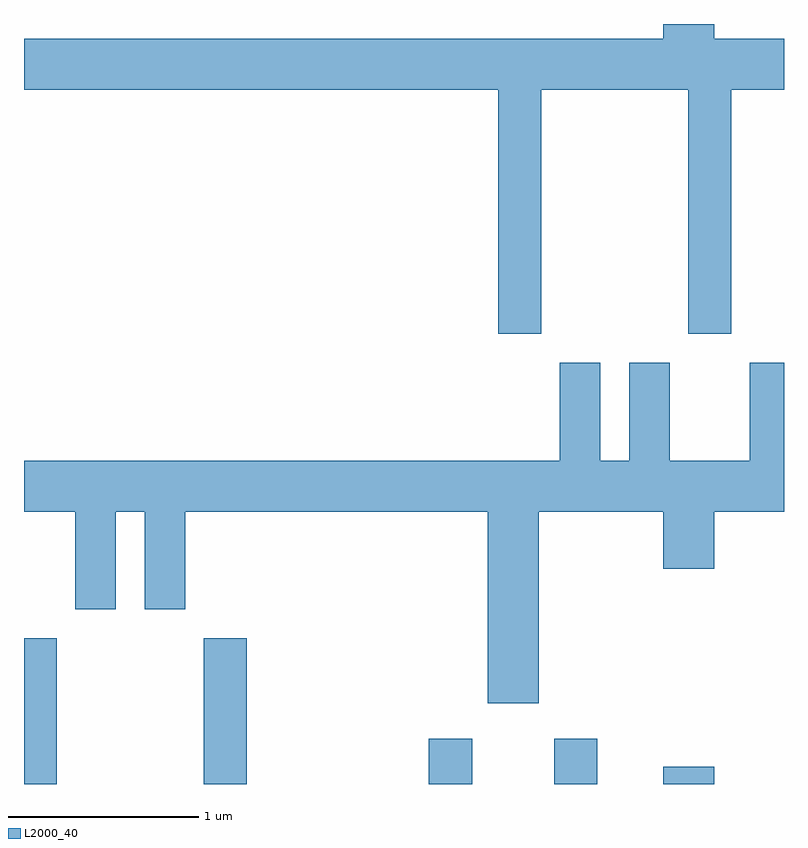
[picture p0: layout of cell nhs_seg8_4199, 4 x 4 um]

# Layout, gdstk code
import gdstk
lib = gdstk.Library(unit=1e-6, precision=1e-09)
def R(c, l, rs):  # rectangles x0, y0, x1, y1
    for r in rs: c.add(gdstk.rectangle(r[:2], r[2:], *l))
def P(c, l, *ps):  # polygons
    for p in ps: c.add(gdstk.Polygon(p, *l))
L2000_40 = (2000, 40)

nhs_seg8_4199 = lib.new_cell('nhs_seg8_4199')
R(nhs_seg8_4199, L2000_40, [(311.611,1808.342,311.784,1809.109), (312.556,1808.342,312.784,1809.109), (313.741,1808.342,313.969,1808.579), (314.401,1808.342,314.629,1808.579), (314.976,1808.342,315.244,1808.434)])
P(nhs_seg8_4199, L2000_40, [(314.334,1811.996),(315.106,1811.996),(315.106,1810.711),(315.334,1810.711),(315.334,1811.996),(315.611,1811.996),(315.611,1812.264),(315.244,1812.264),(315.244,1812.342),(314.976,1812.342),(314.976,1812.264),(311.611,1812.264),(311.611,1811.996),(314.106,1811.996),(314.106,1810.711),(314.334,1810.711)],
  [(315.009,1810.559),(314.796,1810.559),(314.796,1810.044),(314.644,1810.044),(314.644,1810.559),(314.431,1810.559),(314.431,1810.044),(311.611,1810.044),(311.611,1809.776),(311.881,1809.776),(311.881,1809.261),(312.094,1809.261),(312.094,1809.776),(312.246,1809.776),(312.246,1809.261),(312.459,1809.261),(312.459,1809.776),(314.051,1809.776),(314.051,1808.766),(314.319,1808.766),(314.319,1809.776),(314.976,1809.776),(314.976,1809.476),(315.244,1809.476),(315.244,1809.776),(315.611,1809.776),(315.611,1810.559),(315.431,1810.559),(315.431,1810.044),(315.009,1810.044)])

lib.write_gds('nhs_seg8_4199.gds')
